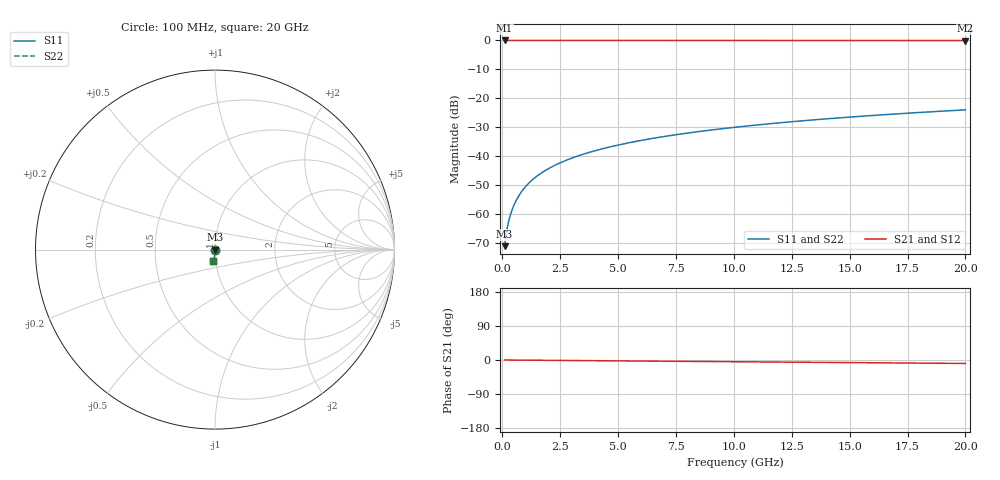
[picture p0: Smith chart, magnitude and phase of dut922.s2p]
! Touchstone file exported from HFSS 2026.1.0
!  File:  C:/ffzhzh/LocalFiles/Ansys_Project_Files/temp_train_TSV_922_1783186631_22436.aedt
!  Generated:  01:38:27 AM Jul  5, 2026
!  Design:  TSV
!  Project:  temp_train_TSV_922_1783186631_22436
! Variables:
!  h_bsmrdl = 2um
!  h_ox = 20um
!  h_rdl = 5um
!  h_sub = 87.45um
!  h_tmrdl = 5um
!  h_tsv = 87.45um
!  h_via = 3um
!  l_bsmrdl = 300um
!  l_sub = 429.4um
!  l_tmrdl = 200um
!  m_sub = 200um
!  pitch = 41.56um
!  r_tsv = 14.7um
!  s_tmrdl = 10um
!  w_bsmrdl = 18um
!  w_sub = 500um
!  w_tmrdl = 12um
!  x_tsv_center1 = 206um
!  x_tsv_center2 = 524um
!  x_tsv_center3 = 736um
!  x_tsv_center4 = 1054um
!  x_tsv_center5 = 1266um
!  x_tsv_center6 = 1584um
# GHz S MA R 50.000000
! Terminal data exported
! Port[1] = TSV1_1_T1
! Port[2] = TSV1_1_T2
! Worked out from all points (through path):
!   200 points, 100 MHz to 20 GHz, reference 50 ohm
!   highest |S21| = 0.00 dB at 100 MHz (marker M1); lowest = 0.0 dB at 20 GHz (marker M2)
!   group delay of S21, straight-line fit = 1.26 ps
!   lowest |S11| = -71.0 dB at 100 MHz (marker M3), VSWR 1.00, Z = 50 - j0.0268 ohm
!   |S11| at or under -10 dB: start of sweep to end of sweep
!   |S22| runs from -71.0 to -24.0 dB; largest |S21 - S12| = 3.2e-15
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0.1  0.0002809 -72.6  0.9999 -0.0  0.9999 -0.0  0.0002809 -72.6
! Gamma 0 0 0 0
! Port Impedance 50 0 50 0
0.2  0.0005506 -79.4  0.9999 -0.1  0.9999 -0.1  0.0005506 -79.4
0.3  0.0008325 -81.3  0.9999 -0.1  0.9999 -0.1  0.0008325 -81.3
0.4  0.001124 -82.2  0.9998 -0.2  0.9998 -0.2  0.001124 -82.2
0.5  0.001425 -82.8  0.9998 -0.2  0.9998 -0.2  0.001425 -82.8
0.7  0.002041 -83.7  0.9998 -0.3  0.9998 -0.3  0.002041 -83.7
0.8  0.002354 -84.1  0.9997 -0.4  0.9997 -0.4  0.002354 -84.1
1  0.002984 -84.9  0.9997 -0.5  0.9997 -0.5  0.002984 -84.9
1.2  0.003615 -85.5  0.9997 -0.6  0.9997 -0.6  0.003615 -85.5
1.4  0.004247 -86.1  0.9996 -0.7  0.9996 -0.7  0.004247 -86.1
1.7  0.005194 -86.7  0.9996 -0.8  0.9996 -0.8  0.005194 -86.7
2  0.006141 -87.3  0.9996 -0.9  0.9996 -0.9  0.006141 -87.3
2.7  0.008348 -88.2  0.9995 -1.2  0.9995 -1.2  0.008348 -88.2
3.5  0.01088 -89.0  0.9994 -1.6  0.9994 -1.6  0.01088 -89.0
4.2  0.01309 -89.6  0.9994 -1.9  0.9994 -1.9  0.01309 -89.6
5  0.01563 -90.1  0.9993 -2.3  0.9993 -2.3  0.01563 -90.1
6.8  0.02136 -91.2  0.9991 -3.1  0.9991 -3.1  0.02136 -91.2
8.3  0.02615 -92.1  0.9989 -3.8  0.9989 -3.8  0.02615 -92.1
10.1  0.03189 -93.1  0.9986 -4.6  0.9986 -4.6  0.03189 -93.1
13.4  0.04242 -94.8  0.9981 -6.1  0.9981 -6.1  0.04242 -94.8
16.7  0.05292 -96.4  0.9975 -7.6  0.9975 -7.6  0.05292 -96.4
20  0.06341 -98.0  0.9968 -9.1  0.9968 -9.1  0.06341 -98.0
